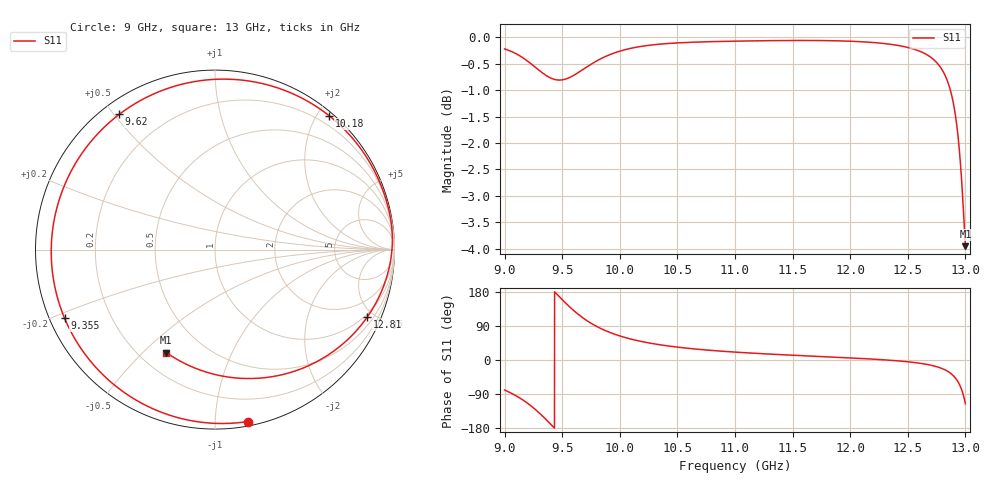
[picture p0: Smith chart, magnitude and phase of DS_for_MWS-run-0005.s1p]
! TOUCHSTONE file generated by CST DESIGN STUDIO
! Date and time: Tue Feb  4 16:43:49 2025
! Project name: C:\Work\MatlabApps\UnitCellOptimizationMatlab\CST\unitcell.cst
! Tree item: Tasks\Sweep1\SPara1\S-Parameters
! Header version: 2024
! Port assignment regex: !\s*Touchstone port\s*([0-9]+)\s*=\s*(CST MWS port|CST DES external port|CST DES block port)\s*(.+)\s* \(\"(.*)\"\)(\s*mode\s*([0-9]+))?.*
! Touchstone port assignment:
! Touchstone port 1 = CST DES external port 1 ("")
# GHz S MA R 50
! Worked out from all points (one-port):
!   4001 points, 9 GHz to 13 GHz, reference 50 ohm
!   lowest |S11| = -4.0 dB at 13 GHz (marker M1), VSWR 4.47, Z = 15.4 - j29.5 ohm
!   |S11| at or under -10 dB: nowhere
!   S11 on the Smith chart (normalised r, x): 9 GHz: 0.03, -1.21; 9.355 GHz: 0.04, -0.22; 9.62 GHz: 0.05, +0.52; 10.18 GHz: 0.06, +2.17; 12.81 GHz: 0.84, -4.55; 13 GHz: 0.31, -0.59
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9  0.975 -79.3
9.109  0.9638 -96.1
9.196  0.9502 -113.4
9.275  0.9354 -132.7
9.355  0.9211 -155.5
9.428  0.9128 -178.2
9.5  0.9116 159.2
9.562  0.916 140.9
9.62  0.9234 125.3
9.691  0.9341 108.7
9.771  0.946 93.3
9.882  0.9599 76.6
10  0.9704 63.5
10.177  0.9802 49.5
10.324  0.9848 41.3
10.5  0.988 34.0
11  0.9918 20.8
11.5  0.9932 12.6
12  0.9916 5.5
12.5  0.9783 -4.7
12.68  0.9608 -12.4
12.809  0.9273 -24.0
12.871  0.8902 -35.0
12.917  0.8387 -49.0
12.941  0.7965 -60.3
12.963  0.7443 -74.9
12.987  0.6733 -98.1
13  0.6345 -115.3
